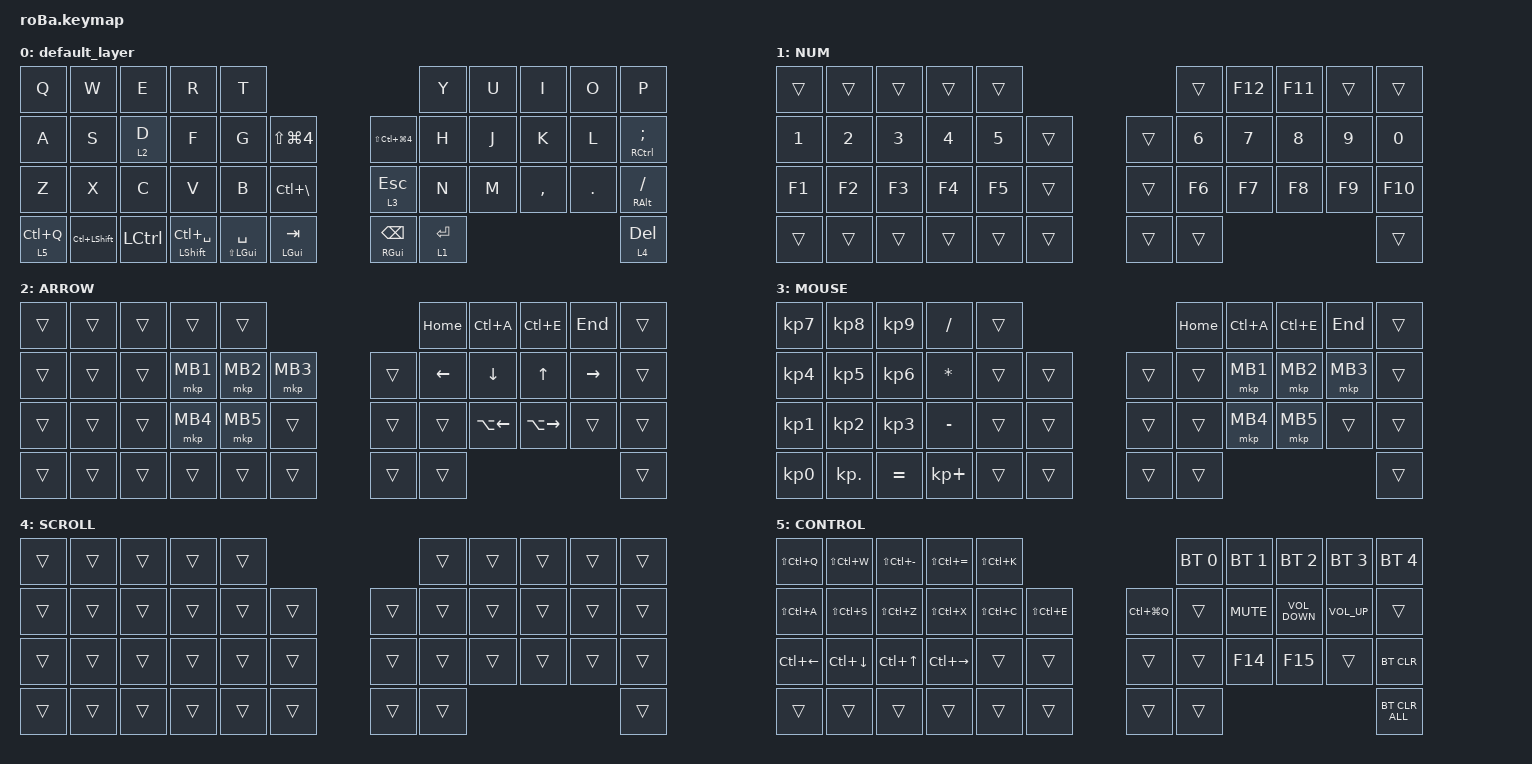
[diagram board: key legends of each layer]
#include <behaviors.dtsi>
#include <dt-bindings/zmk/bt.h>
#include <dt-bindings/zmk/keys.h>
#include <dt-bindings/zmk/pointing.h>

&mt {
    flavor = "balanced";
    quick-tap-ms = <200>;
};

&lt {
    flavor = "balanced";
    quick-tap-ms = <200>;
};

&trackball {
    // automouse-layer = <4>;

    scroll-layers = <4>;

    // arrows {
    //     layers = <3>;
    //     bindings =
    //         <&kp RIGHT_ARROW>,
    //         <&kp LEFT_ARROW>,
    //         <&kp UP_ARROW>,
    //         <&kp DOWN_ARROW>;
    //     tick = <10>;
    //     wait-ms = <5>;
    //     tap-ms = <5>;
    // };
};

/ {
    combos {
        compatible = "zmk,combos";

        tab {
            bindings = <&kp TAB>;
            key-positions = <4 3>;
        };

        colon {
            bindings = <&kp COLON>;
            key-positions = <9 21>;
        };

        question {
            bindings = <&kp QUESTION>;
            key-positions = <21 33>;
        };

        left_brace {
            bindings = <&kp LEFT_BRACE>;
            key-positions = <5 17>;
        };

        right_brace {
            bindings = <&kp RIGHT_BRACE>;
            key-positions = <6 18>;
        };

        left_bracket {
            bindings = <&kp LEFT_BRACKET>;
            key-positions = <17 29>;
        };

        right_bracket {
            bindings = <&kp RIGHT_BRACKET>;
            key-positions = <18 30>;
        };

        left_parenthesis {
            bindings = <&kp LEFT_PARENTHESIS>;
            key-positions = <7 19>;
        };

        right_parenthesis {
            bindings = <&kp RIGHT_PARENTHESIS>;
            key-positions = <8 20>;
        };

        less_than {
            bindings = <&kp LESS_THAN>;
            key-positions = <19 31>;
        };

        greater_than {
            bindings = <&kp GREATER_THAN>;
            key-positions = <20 32>;
        };

        underscore {
            bindings = <&kp UNDERSCORE>;
            key-positions = <5 6>;
        };

        minus {
            bindings = <&kp MINUS>;
            key-positions = <17 18>;
        };

        plus {
            bindings = <&kp PLUS>;
            key-positions = <6 7>;
        };

        equal {
            bindings = <&kp EQUAL>;
            key-positions = <18 19>;
        };

        duble_quotes {
            bindings = <&kp DOUBLE_QUOTES>;
            key-positions = <29 30>;
        };

        single_quote {
            bindings = <&kp SINGLE_QUOTE>;
            key-positions = <30 31>;
        };

        exclamation {
            bindings = <&kp EXCLAMATION>;
            key-positions = <0 10>;
        };

        at_sign {
            bindings = <&kp AT_SIGN>;
            key-positions = <1 11>;
        };

        hash {
            bindings = <&kp HASH>;
            key-positions = <2 12>;
        };

        dollar {
            bindings = <&kp DOLLAR>;
            key-positions = <3 13>;
        };

        percent {
            bindings = <&kp PERCENT>;
            key-positions = <4 14>;
        };

        caret {
            bindings = <&kp CARET>;
            key-positions = <10 22>;
        };

        ampersand {
            bindings = <&kp AMPERSAND>;
            key-positions = <11 23>;
        };

        asterisk {
            bindings = <&kp ASTERISK>;
            key-positions = <12 24>;
        };

        pipe {
            bindings = <&kp PIPE>;
            key-positions = <14 13>;
        };

        backslash {
            bindings = <&kp BACKSLASH>;
            key-positions = <13 12>;
        };

        tilde {
            bindings = <&kp TILDE>;
            key-positions = <26 25>;
        };

        grave {
            bindings = <&kp GRAVE>;
            key-positions = <25 24>;
        };

        shift_tab {
            bindings = <&kp LS(TAB)>;
            key-positions = <3 2>;
        };
    };

    macros {
        to_layer_0: to_layer_0 {
            compatible = "zmk,behavior-macro-one-param";
            #binding-cells = <1>;
            bindings = <&to 0 &macro_param_1to1 &kp MACRO_PLACEHOLDER>;
            label = "TO_LAYER_0";
        };
    };

    behaviors {
        lt_to_layer_0: lt_to_layer_0 {
            compatible = "zmk,behavior-hold-tap";
            label = "LAYER_TAP_TO_0";
            bindings = <&mo>, <&to_layer_0>;

            #binding-cells = <2>;
            tapping-term-ms = <200>;
        };
    };

    keymap {
        compatible = "zmk,keymap";

        default_layer {
            bindings = <
&kp Q        &kp W               &kp E      &kp R                     &kp T                                                                       &kp Y        &kp U  &kp I      &kp O    &kp P
&kp A        &kp S               &lt 2 D    &kp F                     &kp G                   &kp LS(LG(NUMBER_4))      &kp LS(LC(LG(NUMBER_4)))  &kp H        &kp J  &kp K      &kp L    &mt RIGHT_CONTROL SEMI
&kp Z        &kp X               &kp C      &kp V                     &kp B                   &kp LC(BACKSLASH)         &lt 3 ESCAPE              &kp N        &kp M  &kp COMMA  &kp DOT  &mt RIGHT_ALT SLASH
&lt 5 LC(Q)  &kp LC(LEFT_SHIFT)  &kp LCTRL  &mt LEFT_SHIFT LC(SPACE)  &mt LS(LEFT_GUI) SPACE  &mt LEFT_GUI TAB          &mt RIGHT_GUI BACKSPACE   &lt 1 ENTER                             &lt 4 DEL
            >;
        };

        NUM {
            bindings = <
&trans        &trans        &trans        &trans        &trans                      &trans        &kp F12       &kp F11  &trans  &trans
&kp NUMBER_1  &kp NUMBER_2  &kp NUMBER_3  &kp NUMBER_4  &kp N5  &trans      &trans  &kp NUMBER_6  &kp NUMBER_7  &kp N8   &kp N9  &kp N0
&kp F1        &kp F2        &kp F3        &kp F4        &kp F5  &trans      &trans  &kp F6        &kp F7        &kp F8   &kp F9  &kp F10
&trans        &trans        &trans        &trans        &trans  &trans      &trans  &trans                                       &trans
            >;
        };

        ARROW {
            bindings = <
&trans  &trans  &trans  &trans    &trans                          &kp HOME        &kp LC(A)           &kp LC(E)            &kp END          &trans
&trans  &trans  &trans  &mkp MB1  &mkp MB2  &mkp MB3      &trans  &kp LEFT_ARROW  &kp DOWN_ARROW      &kp UP_ARROW         &kp RIGHT_ARROW  &trans
&trans  &trans  &trans  &mkp MB4  &mkp MB5  &trans        &trans  &trans          &kp LA(LEFT_ARROW)  &kp LA(RIGHT_ARROW)  &trans           &trans
&trans  &trans  &trans  &trans    &trans    &trans        &trans  &trans                                                                    &trans
            >;
        };

        MOUSE {
            bindings = <
&kp KP_NUMBER_7  &kp KP_NUMBER_8  &kp KP_NUMBER_9  &kp SLASH     &trans                      &kp HOME  &kp LC(A)  &kp LC(E)  &kp END   &trans
&kp KP_NUMBER_4  &kp KP_NUMBER_5  &kp KP_NUMBER_6  &kp ASTERISK  &trans  &trans      &trans  &trans    &mkp MB1   &mkp MB2   &mkp MB3  &trans
&kp KP_NUMBER_1  &kp KP_NUMBER_2  &kp KP_NUMBER_3  &kp MINUS     &trans  &trans      &trans  &trans    &mkp MB4   &mkp MB5   &trans    &trans
&kp KP_NUMBER_0  &kp KP_DOT       &kp EQUAL        &kp KP_PLUS   &trans  &trans      &trans  &trans                                    &trans
            >;
        };

        SCROLL {
            bindings = <
&trans  &trans  &trans  &trans  &trans                      &trans  &trans  &trans  &trans  &trans
&trans  &trans  &trans  &trans  &trans  &trans      &trans  &trans  &trans  &trans  &trans  &trans
&trans  &trans  &trans  &trans  &trans  &trans      &trans  &trans  &trans  &trans  &trans  &trans
&trans  &trans  &trans  &trans  &trans  &trans      &trans  &trans                          &trans
            >;
        };

        CONTROL {
            bindings = <
&kp LS(LC(Q))       &kp LS(LC(W))       &kp LS(LC(MINUS))  &kp LS(LC(EQUAL))    &kp LS(LC(K))                                    &bt BT_SEL 0  &bt BT_SEL 1  &bt BT_SEL 2       &bt BT_SEL 3     &bt BT_SEL 4
&kp LS(LC(A))       &kp LS(LC(S))       &kp LS(LC(Z))      &kp LS(LC(X))        &kp LS(LC(C))  &kp LS(LC(E))      &kp LC(LG(Q))  &trans        &kp K_MUTE    &kp C_VOLUME_DOWN  &kp C_VOLUME_UP  &trans
&kp LC(LEFT_ARROW)  &kp LC(DOWN_ARROW)  &kp LC(UP_ARROW)   &kp LC(RIGHT_ARROW)  &trans         &trans             &trans         &trans        &kp F14       &kp F15            &trans           &bt BT_CLR
&trans              &trans              &trans             &trans               &trans         &trans             &trans         &trans                                                          &bt BT_CLR_ALL
            >;
        };
    };
};
